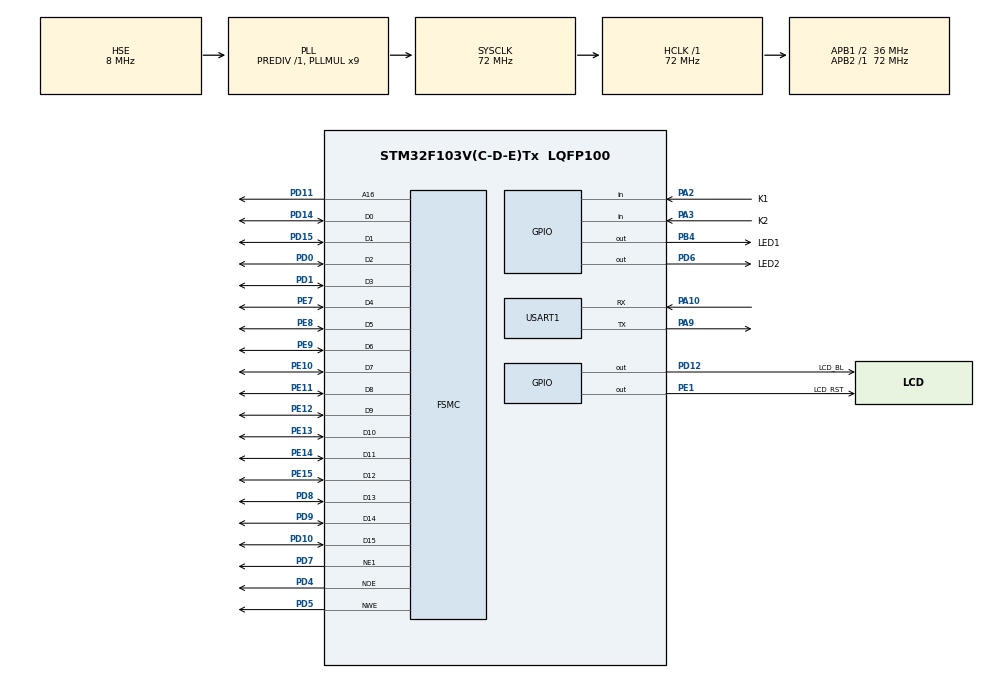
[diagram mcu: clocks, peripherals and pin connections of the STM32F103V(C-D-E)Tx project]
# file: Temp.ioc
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Mcu.Family=STM32F1
Mcu.Name=STM32F103V(C-D-E)Tx
Mcu.Package=LQFP100
NVIC.PriorityGroup=NVIC_PRIORITYGROUP_4
NVIC.USART1_IRQn=true\:0\:0\:false\:false\:true\:true\:true\:true
OSC_IN.Mode=HSE-External-Oscillator
OSC_IN.Signal=RCC_OSC_IN
OSC_OUT.Mode=HSE-External-Oscillator
OSC_OUT.Signal=RCC_OSC_OUT
PA10.Mode=Asynchronous
PA10.Signal=USART1_RX
PA13.Mode=Serial_Wire
PA13.Signal=SYS_JTMS-SWDIO
PA14.Mode=Serial_Wire
PA14.Signal=SYS_JTCK-SWCLK
PA2.GPIO_Label=K1
PA2.Signal=GPIO_Input
PA3.GPIO_Label=K2
PA3.Signal=GPIO_Input
PA9.Mode=Asynchronous
PA9.Signal=USART1_TX
PB4.GPIO_Label=LED1
PB4.GPIO_ModeDefaultOutputPP=GPIO_MODE_OUTPUT_PP
PB4.GPIO_PuPd=GPIO_PULLUP
PB4.GPIO_Speed=GPIO_SPEED_FREQ_HIGH
PB4.PinState=GPIO_PIN_SET
PB4.Signal=GPIO_Output
PC14-OSC32_IN.Mode=LSE-External-Oscillator
PC14-OSC32_IN.Signal=RCC_OSC32_IN
PC15-OSC32_OUT.Mode=LSE-External-Oscillator
PC15-OSC32_OUT.Signal=RCC_OSC32_OUT
PD0.Mode=16b-d1
PD0.Signal=FSMC_D2
PD1.Mode=16b-d1
PD1.Signal=FSMC_D3
PD10.Mode=16b-d1
PD10.Signal=FSMC_D15
PD11.Mode=A16_1
PD11.Signal=FSMC_A16
PD12.GPIO_Label=LCD_BL
PD12.GPIO_ModeDefaultOutputPP=GPIO_MODE_OUTPUT_PP
PD12.GPIO_PuPd=GPIO_PULLUP
PD12.GPIO_Speed=GPIO_SPEED_FREQ_HIGH
PD12.PinState=GPIO_PIN_SET
PD12.Signal=GPIO_Output
PD14.Mode=16b-d1
PD14.Signal=FSMC_D0
PD15.Mode=16b-d1
PD15.Signal=FSMC_D1
PD4.Mode=Lcd1
PD4.Signal=FSMC_NOE
PD5.Mode=Lcd1
PD5.Signal=FSMC_NWE
PD6.GPIO_Label=LED2
PD6.GPIO_ModeDefaultOutputPP=GPIO_MODE_OUTPUT_PP
PD6.GPIO_PuPd=GPIO_PULLUP
PD6.GPIO_Speed=GPIO_SPEED_FREQ_HIGH
PD6.PinState=GPIO_PIN_SET
PD6.Signal=GPIO_Output
PD7.Mode=NorPsramChipSelect1_1
PD7.Signal=FSMC_NE1
PD8.Mode=16b-d1
PD8.Signal=FSMC_D13
PD9.Mode=16b-d1
PD9.Signal=FSMC_D14
PE1.GPIO_Label=LCD_RST
PE1.GPIO_ModeDefaultOutputPP=GPIO_MODE_OUTPUT_PP
PE1.GPIO_PuPd=GPIO_PULLUP
PE1.GPIO_Speed=GPIO_SPEED_FREQ_HIGH
PE1.PinState=GPIO_PIN_SET
PE1.Signal=GPIO_Output
PE10.Mode=16b-d1
PE10.Signal=FSMC_D7
PE11.Mode=16b-d1
PE11.Signal=FSMC_D8
PE12.Mode=16b-d1
PE12.Signal=FSMC_D9
PE13.Mode=16b-d1
PE13.Signal=FSMC_D10
PE14.Mode=16b-d1
PE14.Signal=FSMC_D11
PE15.Mode=16b-d1
PE15.Signal=FSMC_D12
PE7.Mode=16b-d1
PE7.Signal=FSMC_D4
PE8.Mode=16b-d1
PE8.Signal=FSMC_D5
PE9.Mode=16b-d1
PE9.Signal=FSMC_D6
ProjectManager.HeapSize=0x200
ProjectManager.StackSize=0x400
ProjectManager.TargetToolchain=MDK-ARM V5.32
RCC.AHBFreq_Value=72000000
RCC.APB1CLKDivider=RCC_HCLK_DIV2
RCC.APB1Freq_Value=36000000
RCC.APB1TimFreq_Value=72000000
RCC.APB2Freq_Value=72000000
RCC.APB2TimFreq_Value=72000000
RCC.HCLKFreq_Value=72000000
RCC.PLLMUL=RCC_PLL_MUL9
RCC.PLLSourceVirtual=RCC_PLLSOURCE_HSE
RCC.RCC_MCOSource=RCC_MCO1SOURCE_PLLCLK
RCC.SYSCLKFreq_VALUE=72000000
RCC.SYSCLKSource=RCC_SYSCLKSOURCE_PLLCLK
RCC.USBFreq_Value=72000000
USART1.VirtualMode=VM_ASYNC
board=custom

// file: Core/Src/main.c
/* USER CODE BEGIN Header */
/**
  ******************************************************************************
  * @file           : main.c
  * @brief          : Main program body
  ******************************************************************************
  * @attention
  *
  * Copyright (c) 2025 STMicroelectronics.
  * All rights reserved.
  *
  * This software is licensed under terms that can be found in the LICENSE file
  * in the root directory of this software component.
  * If no LICENSE file comes with this software, it is provided AS-IS.
  *
  ******************************************************************************
  */
/* USER CODE END Header */
#include "main.h"
#include "usart.h"
#include "gpio.h"
#include "fsmc.h"

/* USER CODE BEGIN Includes */
#include "stdio.h"
#include "bsp_lcd_driver.h"
/* USER CODE END Includes */

/* USER CODE BEGIN PTD */
uint8_t rx_buff[100];
uint8_t rx_done = 0;
uint8_t rx_cnt = 0;
/* USER CODE END PTD */

void SystemClock_Config(void);

int main(void)
{

  /* MCU Configuration--------------------------------------------------------*/

  /* Reset of all peripherals, Initializes the Flash interface and the Systick. */
  HAL_Init();

  /* Configure the system clock */
  SystemClock_Config();

  /* Initialize all configured peripherals */
  MX_GPIO_Init();
  MX_USART1_UART_Init();
  MX_FSMC_Init();
  /* USER CODE BEGIN 2 */
	LCD_Init();
  printf("hello,enjoy!\r\n");
  HAL_Delay(1000);
    // 根据型号显示不同颜色
    switch (LCD_DetectModel()) {
        case LCD_ILI9341:
            LCD_FillColor(0xF800); // 红色
						printf("LCD_ILI9341");
            break;
        case LCD_ST7789V:
            LCD_FillColor(0x07E0); // 绿色
						printf("LCD_ST7789V");
            break;
        default:
            LCD_FillColor(0x0000); // 黑色
						printf("LCD_UNKNOW");
            break;
    }
		//红色方块
		LCD_SetWindow(0,0,120,160);
		LCD_FillColor(0xF800);
		//黑色方块
		LCD_SetWindow(120,160,240,320);
		LCD_FillColor(0x0000);
  /* USER CODE END 2 */

  /* Infinite loop */
  while (1)
  {

    /* USER CODE BEGIN 3 */
    if(rx_done == 1)
    {
        rx_done = 0;
        printf("length of rx data: %d!\r\n",rx_cnt);
        for(int i = 0;i<rx_cnt;i++) printf("%c",rx_buff[i]);
        printf("\r\n");

        rx_cnt =0;
    }
    HAL_GPIO_TogglePin(LED1_GPIO_Port, LED1_Pin);
  }
  /* USER CODE END 3 */
}

void SystemClock_Config(void)
{
  RCC_OscInitTypeDef RCC_OscInitStruct = {0};
  RCC_ClkInitTypeDef RCC_ClkInitStruct = {0};

  /** Initializes the RCC Oscillators according to the specified parameters
  * in the RCC_OscInitTypeDef structure.
  */
  RCC_OscInitStruct.OscillatorType = RCC_OSCILLATORTYPE_HSE;
  RCC_OscInitStruct.HSEState = RCC_HSE_ON;
  RCC_OscInitStruct.HSEPredivValue = RCC_HSE_PREDIV_DIV1;
  RCC_OscInitStruct.HSIState = RCC_HSI_ON;
  RCC_OscInitStruct.PLL.PLLState = RCC_PLL_ON;
  RCC_OscInitStruct.PLL.PLLSource = RCC_PLLSOURCE_HSE;
  RCC_OscInitStruct.PLL.PLLMUL = RCC_PLL_MUL9;
  if (HAL_RCC_OscConfig(&RCC_OscInitStruct) != HAL_OK)
  {
    Error_Handler();
  }

  /** Initializes the CPU, AHB and APB buses clocks
  */
  RCC_ClkInitStruct.ClockType = RCC_CLOCKTYPE_HCLK|RCC_CLOCKTYPE_SYSCLK
                              |RCC_CLOCKTYPE_PCLK1|RCC_CLOCKTYPE_PCLK2;
  RCC_ClkInitStruct.SYSCLKSource = RCC_SYSCLKSOURCE_PLLCLK;
  RCC_ClkInitStruct.AHBCLKDivider = RCC_SYSCLK_DIV1;
  RCC_ClkInitStruct.APB1CLKDivider = RCC_HCLK_DIV2;
  RCC_ClkInitStruct.APB2CLKDivider = RCC_HCLK_DIV1;

  if (HAL_RCC_ClockConfig(&RCC_ClkInitStruct, FLASH_LATENCY_2) != HAL_OK)
  {
    Error_Handler();
  }
}

/* USER CODE BEGIN 4 */
#ifdef __GNUC__
#define PUTCHAR_PROTOTYPE int __io_putchar(int ch)
#else
#define PUTCHAR_PROTOTYPE int fputc(int ch,FILE *f)
#endif /* __GNUC__ */

PUTCHAR_PROTOTYPE
{
    HAL_UART_Transmit(&huart1,(uint8_t *)&ch,1,HAL_MAX_DELAY);
    return ch;
}
/* USER CODE END 4 */

void Error_Handler(void)
{
  __disable_irq();
  while (1)
  {
  }
}
